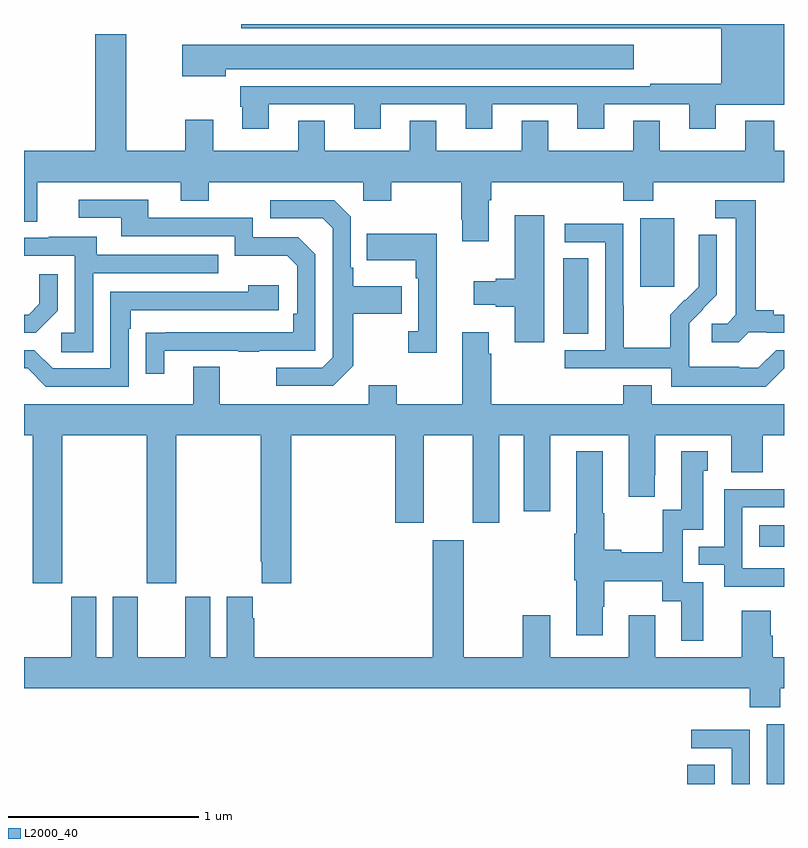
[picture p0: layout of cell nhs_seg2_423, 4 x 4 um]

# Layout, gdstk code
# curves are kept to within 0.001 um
import gdstk
lib = gdstk.Library(unit=1e-6, precision=1e-09)
def R(c, l, rs):  # rectangles x0, y0, x1, y1
    for r in rs: c.add(gdstk.rectangle(r[:2], r[2:], *l))
def P(c, l, *ps):  # polygons
    for p in ps: c.add(gdstk.Polygon(p, *l))
L2000_40 = (2000, 40)

nhs_seg2_423 = lib.new_cell('nhs_seg2_423')
R(nhs_seg2_423, L2000_40, [(134.492,645.8,134.635,645.902), (134.909,645.8,135,646.114), (134.871,647.048,135,647.163), (133.838,648.169,133.969,648.566), (134.243,648.417,134.422,648.778)])
P(nhs_seg2_423, L2000_40, [(132.289,649.377),(132.737,649.377),(132.737,649.248),(132.877,649.248),(132.877,649.377),(133.325,649.377),(133.325,649.248),(133.465,649.248),(133.465,649.377),(133.913,649.377),(133.913,649.248),(134.053,649.248),(134.053,649.377),(134.501,649.377),(134.501,649.248),(134.641,649.248),(134.641,649.376),(135,649.376),(135,649.8),(132.143,649.8),(132.143,649.778),(134.669,649.778),(134.669,649.486),(134.296,649.486),(134.296,649.473),(132.137,649.473),(132.137,649.365),(132.149,649.365),(132.149,649.248),(132.289,649.248)],
  [(131,648.76),(131.071,648.76),(131.071,648.968),(131.825,648.968),(131.825,648.869),(131.973,648.869),(131.973,648.968),(132.786,648.968),(132.786,648.869),(132.933,648.869),(132.933,648.968),(133.3,648.968),(133.3,648.769),(133.307,648.769),(133.307,648.657),(133.447,648.657),(133.447,648.872),(133.46,648.872),(133.46,648.968),(134.153,648.968),(134.153,648.869),(134.313,648.869),(134.313,648.968),(135,648.968),(135,649.132),(134.948,649.132),(134.948,649.291),(134.795,649.291),(134.795,649.132),(134.347,649.132),(134.347,649.292),(134.207,649.292),(134.207,649.132),(133.759,649.132),(133.759,649.292),(133.619,649.292),(133.619,649.132),(133.171,649.132),(133.171,649.292),(133.031,649.292),(133.031,649.132),(132.583,649.132),(132.583,649.292),(132.443,649.292),(132.443,649.132),(131.995,649.132),(131.995,649.297),(131.848,649.297),(131.848,649.132),(131.539,649.132),(131.539,649.747),(131.375,649.747),(131.375,649.132),(131,649.132)],
  [(132.061,649.562),(134.209,649.562),(134.209,649.69),(131.832,649.69),(131.832,649.526),(132.061,649.526)],
  [(131.737,648.081),(132.127,648.081),(132.127,648.076),(132.239,648.076),(132.239,648.081),(132.534,648.081),(132.534,648.588),(132.444,648.678),(132.204,648.678),(132.204,648.78),(131.653,648.78),(131.653,648.876),(131.289,648.876),(131.289,648.78),(131.513,648.78),(131.513,648.684),(132.108,648.684),(132.108,648.581),(132.385,648.581),(132.438,648.528),(132.438,648.274),(132.418,648.274),(132.418,648.177),(131.641,648.176),(131.641,647.958),(131.737,647.958)],
  [(132.733,648.001),(132.733,648.274),(132.989,648.274),(132.989,648.421),(132.733,648.421),(132.733,648.517),(132.72,648.517),(132.72,648.786),(132.633,648.873),(132.297,648.873),(132.297,648.777),(132.573,648.777),(132.624,648.726),(132.624,648.045),(132.57,647.991),(132.327,647.991),(132.327,647.895),(132.627,647.895)],
  [(134.814,648.177),(134.908,648.177),(134.908,648.174),(135,648.174),(135,648.27),(134.947,648.27),(134.947,648.293),(134.851,648.293),(134.851,648.873),(134.637,648.873),(134.637,648.777),(134.747,648.777),(134.747,648.269),(134.7,648.222),(134.619,648.222),(134.619,648.125),(134.762,648.125)],
  [(133.738,648.793),(133.583,648.793),(133.583,648.458),(133.484,648.458),(133.484,648.445),(133.368,648.445),(133.368,648.323),(133.484,648.323),(133.484,648.311),(133.583,648.311),(133.583,648.126),(133.738,648.126)],
  [(135,647.988),(135,648.084),(134.958,648.084),(134.865,647.991),(134.765,647.991),(134.765,647.995),(134.502,647.995),(134.502,648.129),(134.5,648.129),(134.5,648.226),(134.646,648.374),(134.646,648.692),(134.55,648.692),(134.55,648.538),(134.552,648.538),(134.552,648.416),(134.481,648.345),(134.478,648.348),(134.401,648.271),(134.401,648.097),(134.157,648.097),(134.157,648.32),(134.154,648.32),(134.154,648.75),(133.845,648.75),(133.845,648.651),(134.058,648.651),(134.058,648.084),(133.845,648.084),(133.845,647.988),(134.406,647.988),(134.406,647.891),(134.903,647.891)],
  [(133.172,648.697),(132.805,648.697),(132.805,648.557),(133.062,648.557),(133.062,648.461),(133.074,648.461),(133.074,648.182),(133.023,648.182),(133.023,648.069),(133.172,648.069)],
  [(131.364,648.489),(132.023,648.489),(132.023,648.585),(131.383,648.585),(131.383,648.679),(131.129,648.679),(131.129,648.675),(131,648.675),(131,648.579),(131.268,648.579),(131.268,648.174),(131.196,648.174),(131.196,648.073),(131.364,648.073)],
  [(131.178,648.29),(131.178,648.484),(131.081,648.484),(131.081,648.327),(131.024,648.27),(131,648.27),(131,648.174),(131.062,648.174)],
  [(131.55,648.197),(131.563,648.197),(131.563,648.294),(132.34,648.294),(132.34,648.424),(132.179,648.424),(132.179,648.39),(131.454,648.39),(131.454,647.988),(131.151,647.988),(131.055,648.084),(131,648.084),(131,647.988),(131.019,647.988),(131.115,647.892),(131.55,647.892)],
  [(133.46,648.065),(133.447,648.065),(133.447,648.178),(133.307,648.178),(133.307,647.8),(132.963,647.8),(132.963,647.899),(132.815,647.899),(132.815,647.8),(132.031,647.8),(132.031,647.995),(131.891,647.995),(131.891,647.8),(131,647.8),(131,647.636),(131.047,647.636),(131.047,646.857),(131.202,646.857),(131.202,647.636),(131.647,647.636),(131.647,646.857),(131.802,646.857),(131.802,647.636),(132.247,647.636),(132.247,646.969),(132.251,646.969),(132.251,646.857),(132.407,646.857),(132.407,647.636),(132.953,647.636),(132.953,647.175),(133.105,647.175),(133.105,647.636),(133.361,647.636),(133.361,647.175),(133.501,647.175),(133.501,647.636),(133.631,647.636),(133.631,647.235),(133.771,647.235),(133.771,647.636),(134.183,647.636),(134.183,647.313),(134.32,647.313),(134.32,647.425),(134.323,647.425),(134.323,647.636),(134.723,647.636),(134.723,647.442),(134.887,647.442),(134.887,647.636),(135,647.636),(135,647.8),(134.305,647.8),(134.305,647.899),(134.153,647.899),(134.153,647.8),(133.46,647.8)],
  [(134.575,646.863),(134.466,646.863),(134.466,647.139),(134.575,647.139),(134.575,647.448),(134.599,647.448),(134.599,647.551),(134.459,647.551),(134.459,647.244),(134.363,647.244),(134.363,647.02),(134.143,647.02),(134.143,647.033),(134.055,647.033),(134.055,647.225),(134.047,647.225),(134.047,647.551),(133.907,647.551),(133.907,647.116),(133.895,647.116),(133.895,646.872),(133.907,646.872),(133.907,646.584),(134.047,646.584),(134.047,646.734),(134.055,646.734),(134.055,646.868),(134.358,646.868),(134.358,646.762),(134.459,646.762),(134.459,646.554),(134.575,646.554)],
  [(135,646.935),(134.781,646.935),(134.781,647.256),(135,647.256),(135,647.352),(134.685,647.352),(134.685,647.049),(134.551,647.049),(134.551,646.953),(134.685,646.953),(134.685,646.839),(135,646.839)],
  [(134.979,646.304),(135,646.304),(135,646.468),(134.942,646.468),(134.942,646.581),(134.929,646.581),(134.929,646.711),(134.777,646.711),(134.777,646.468),(134.323,646.468),(134.323,646.687),(134.183,646.687),(134.183,646.468),(133.771,646.468),(133.771,646.687),(133.624,646.687),(133.624,646.468),(133.315,646.468),(133.315,647.083),(133.151,647.083),(133.151,646.468),(132.212,646.468),(132.212,646.673),(132.205,646.673),(132.205,646.786),(132.068,646.786),(132.068,646.468),(131.98,646.468),(131.98,646.786),(131.849,646.786),(131.849,646.468),(131.599,646.468),(131.599,646.786),(131.468,646.786),(131.468,646.468),(131.38,646.468),(131.38,646.786),(131.249,646.786),(131.249,646.468),(131,646.468),(131,646.304),(134.819,646.304),(134.819,646.205),(134.979,646.205)],
  [(134.82,646.086),(134.511,646.086),(134.511,645.987),(134.724,645.987),(134.724,645.8),(134.82,645.8)])

lib.write_gds('nhs_seg2_423.gds')
